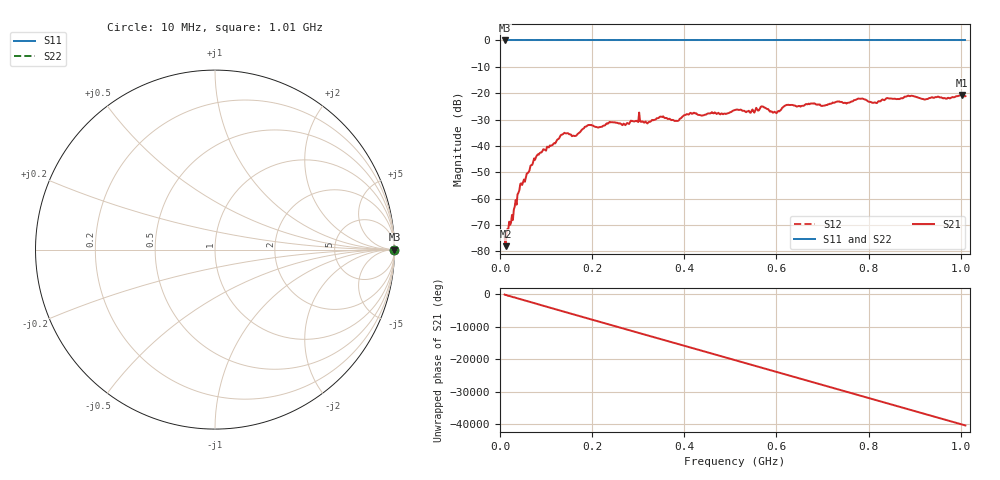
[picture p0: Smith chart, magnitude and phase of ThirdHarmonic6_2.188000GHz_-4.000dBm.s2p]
! 8/17/2025 2:05:15 AM
! C:\ANRITSUVNA\TEMP\TEMP.S2P
! CHANNEL.1
! TR.MEASUREMENT
! RAW.DATA
! RF.CORRECTION.OFF
! AVERAGING.OFF
! IF.BANDWIDTH: 5KHZ
! SWEEPTYPE:  FREQ.SWEEP(Linear)
! Reference Plane Port Info
! PORT:  PORT1  PORT2
! DISTANCE:  0  m  0  m
! TIME:  0  s  0  s
! PHASE.OFFSET:  0  deg.  0  deg.
! LOSS:  0  dB  0  dB
! REF.LOSS:  0  dB  0  dB
! REF.FREQ:  0  Hz  0  Hz
! Power Info
! POWER:  -20  dBm  -20  dBm
! EFF.POWER:  -20  dBm  -20  dBm
! SOURCE.ATTEN:  0  dB  0  dB
! TEST.ATTEN:  0  dB  0  dB
# GHZ S RI R 50.0
! FREQ.GHZ  S11RE  S11IM  S21RE  S21IM  S12RE  S12IM  S22RE  S22IM
!; PortSelection: Port_12
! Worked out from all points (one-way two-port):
!   501 points, 10 MHz to 1.01 GHz, reference 50 ohm
!   highest |S21| = -20.69 dB at 1.002 GHz (marker M1); lowest = -78.0 dB at 12 MHz (marker M2)
!   lowest |S11| = 0.0 dB at 10 MHz (marker M3)
!   |S11| at or under -10 dB: nowhere
!   |S22| runs from 0.0 to 0.0 dB; largest |S21 - S12| = 1.1
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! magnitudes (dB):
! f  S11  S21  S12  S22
! 10 MHz  0.0  -74.4  0.0  0.0
! 12 MHz  0.0  -78.0  0.0  0.0
! 26 MHz  0.0  -66.1  0.0  0.0
! 42 MHz  0.0  -56.8  0.0  0.0
! 78 MHz  0.0  -44.3  0.0  0.0
! 136 MHz  0.0  -35.6  0.0  0.0
! 162 MHz  0.0  -36.2  0.0  0.0
! 178 MHz  0.0  -33.8  0.0  0.0
! 194 MHz  0.0  -32.0  0.0  0.0
! 322 MHz  0.0  -31.1  0.0  0.0
! 344 MHz  0.0  -29.4  0.0  0.0
! 384 MHz  0.0  -30.5  0.0  0.0
! 416 MHz  0.0  -27.8  0.0  0.0
! 510 MHz  0.0  -26.4  0.0  0.0
! 570 MHz  0.0  -25.1  0.0  0.0
! 596 MHz  0.0  -27.0  0.0  0.0
! 622 MHz  0.0  -24.4  0.0  0.0
! 678 MHz  0.0  -23.9  0.0  0.0
! 814 MHz  0.0  -23.5  0.0  0.0
! 844 MHz  0.0  -22.0  0.0  0.0
! 1.002 GHz  0.0  -20.7  0.0  0.0
! 1.01 GHz  0.0  -21.1  0.0  0.0
